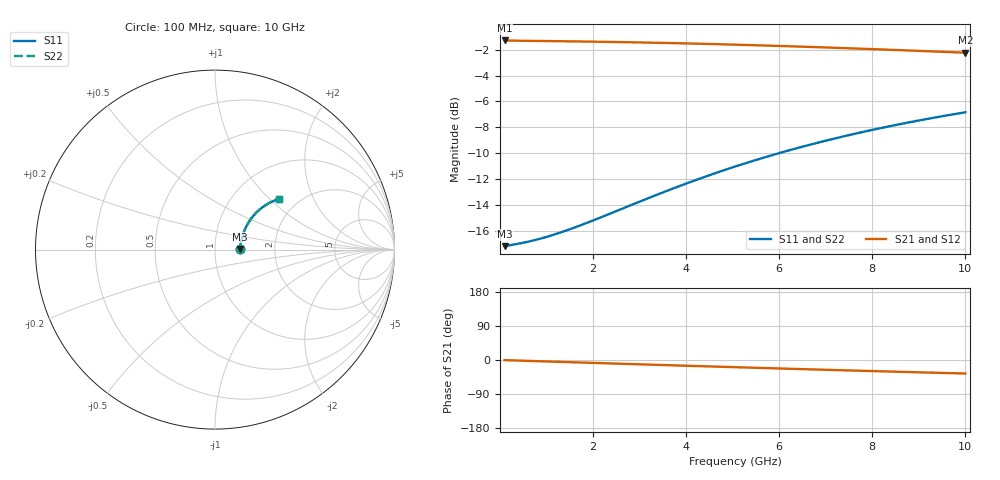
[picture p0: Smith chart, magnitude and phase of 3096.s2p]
# Hz S RI R 50.00
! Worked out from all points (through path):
!   100 points, 100 MHz to 10 GHz, reference 50 ohm
!   highest |S21| = -1.30 dB at 100 MHz (marker M1); lowest = -2.2 dB at 10 GHz (marker M2)
!   group delay of S21, straight-line fit = 9.94 ps
!   lowest |S11| = -17.2 dB at 100 MHz (marker M3), VSWR 1.32, Z = 66.1 + j0.556 ohm
!   |S11| at or under -10 dB: start of sweep to 5.981 GHz
!   |S22| runs from -17.2 to -6.8 dB; largest |S21 - S12| = 0
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1e8  0.1387 0.00413  0.8613 -0.00579  0.8613 -0.00579  0.1387 0.00413
5e8  0.1416 0.0205  0.8584 -0.0288  0.8584 -0.0288  0.1416 0.0205
7e8  0.1429 0.0286  0.8571 -0.0402  0.8571 -0.0402  0.1429 0.0286
9e8  0.1443 0.0367  0.8556 -0.0516  0.8556 -0.0516  0.1443 0.0367
1.1e9  0.1458 0.0447  0.854 -0.063  0.854 -0.063  0.1458 0.0447
1.3e9  0.1475 0.0527  0.8522 -0.0743  0.8522 -0.0743  0.1475 0.0527
1.8e9  0.1525 0.0724  0.847 -0.1023  0.847 -0.1023  0.1525 0.0724
2.6e9  0.1629 0.1028  0.8361 -0.1461  0.8361 -0.1461  0.1629 0.1028
3.4e9  0.1761 0.1318  0.8222 -0.1884  0.8222 -0.1884  0.1761 0.1318
3.9e9  0.1857 0.149  0.812 -0.2139  0.812 -0.2139  0.1857 0.149
4.3e9  0.1941 0.1621  0.8031 -0.2338  0.8031 -0.2338  0.1941 0.1621
4.7e9  0.2031 0.1748  0.7936 -0.2531  0.7936 -0.2531  0.2031 0.1748
5.1e9  0.2127 0.1868  0.7834 -0.2718  0.7834 -0.2718  0.2127 0.1868
5.5e9  0.2227 0.1982  0.7727 -0.29  0.7727 -0.29  0.2227 0.1982
5.9e9  0.2332 0.2091  0.7616 -0.3075  0.7616 -0.3075  0.2332 0.2091
6.3e9  0.2441 0.2192  0.7499 -0.3245  0.7499 -0.3245  0.2441 0.2192
6.7e9  0.2554 0.2288  0.7378 -0.3407  0.7378 -0.3407  0.2554 0.2288
7.5e9  0.279 0.2459  0.7126 -0.3714  0.7126 -0.3714  0.279 0.2459
7.9e9  0.2911 0.2534  0.6995 -0.3857  0.6995 -0.3857  0.2911 0.2534
8.4e9  0.3066 0.2619  0.6828 -0.4027  0.6828 -0.4027  0.3066 0.2619
9.2e9  0.3317 0.2734  0.6554 -0.4278  0.6554 -0.4278  0.3317 0.2734
1e10  0.3572 0.2823  0.6275 -0.4504  0.6275 -0.4504  0.3572 0.2823
